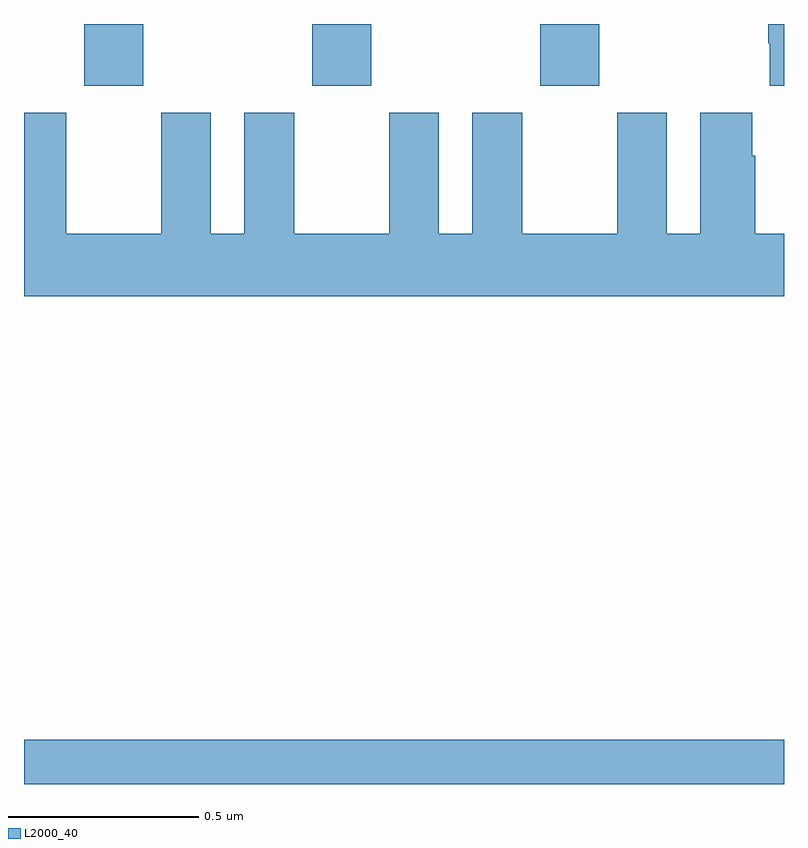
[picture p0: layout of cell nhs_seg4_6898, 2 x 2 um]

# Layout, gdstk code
import gdstk
lib = gdstk.Library(unit=1e-6, precision=1e-09)
def R(c, l, rs):  # rectangles x0, y0, x1, y1
    for r in rs: c.add(gdstk.rectangle(r[:2], r[2:], *l))
def A(c, l, x, y, w, h, nx, ny, dx, dy):  # array of equal rectangles
    R(c, l, [(x+i*dx, y+j*dy, x+i*dx+w, y+j*dy+h) for i in range(nx) for j in range(ny)])
def P(c, l, *ps):  # polygons
    for p in ps: c.add(gdstk.Polygon(p, *l))
L2000_40 = (2000, 40)

nhs_seg4_6898 = lib.new_cell('nhs_seg4_6898')
A(nhs_seg4_6898, L2000_40, 196.159, 766.737, 0.155, 0.163, 3, 1, 0.6, 0)
R(nhs_seg4_6898, L2000_40, [(196,764.9,198,765.016)])
P(nhs_seg4_6898, L2000_40, [(198,766.9),(197.959,766.9),(197.959,766.849),(197.963,766.849),(197.963,766.737),(198,766.737)],
  [(198,766.348),(197.924,766.348),(197.924,766.553),(197.917,766.553),(197.917,766.666),(197.78,766.666),(197.78,766.348),(197.692,766.348),(197.692,766.666),(197.561,766.666),(197.561,766.348),(197.311,766.348),(197.311,766.666),(197.18,766.666),(197.18,766.348),(197.092,766.348),(197.092,766.666),(196.961,766.666),(196.961,766.348),(196.711,766.348),(196.711,766.666),(196.58,766.666),(196.58,766.348),(196.492,766.348),(196.492,766.666),(196.361,766.666),(196.361,766.348),(196.111,766.348),(196.111,766.666),(196,766.666),(196,766.184),(198,766.184)])

lib.write_gds('nhs_seg4_6898.gds')
